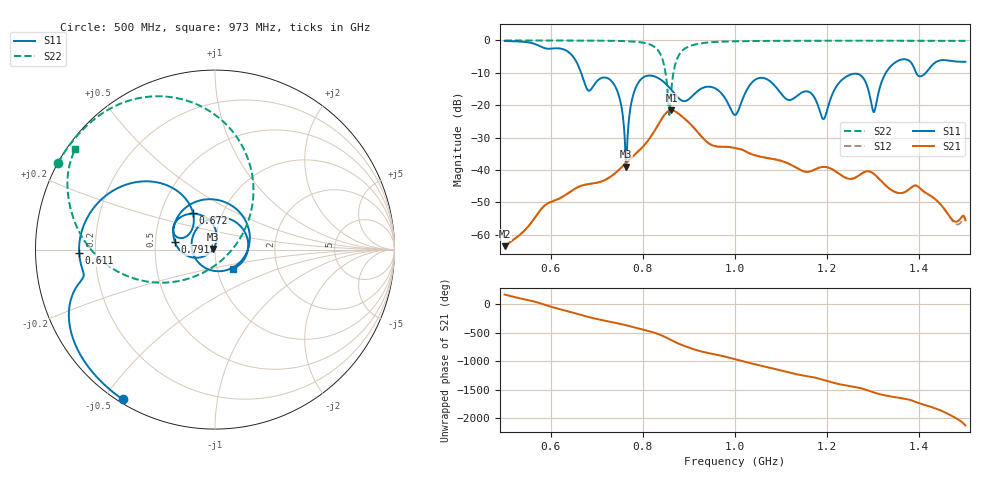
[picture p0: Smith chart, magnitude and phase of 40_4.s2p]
! TOUCHSTONE file generated by CST MICROWAVE STUDIO
! Date and time: Sat Nov 14 20:03:48 2020
! Project name: Scenario_1_Planar_Body_Tissue_Out_of_Line.cst
! Parameters = {dy1=-328.7; L_HA=400; Ltissue=700; MT=2.54; Rad_Dielectric=30; Rad_Lower=7.3; Rad_Upper=30; Wtissue=700; a_HA=580; a_WG=246; b_HA=500; b_WG=121; c_HA=0; c_WG=187; d_feed=85; dx1=693; h_feed=15; h_lower=18; h_upper=40; hfat=3; hgap=25; hmuscle=50; hskin=1.5}
! Header version: 2018
! Port assignment regex: !\s*Touchstone port\s*([0-9]+)\s*=\s*(CST MWS port|CST DS port)\s*([0-9]+|Zmin|Zmax)\s*\(\"(.*)\"\)(\s*mode\s*([0-9]+))?.*
! Touchstone port assignment:
! Touchstone port 1 = CST MWS port 1 ("")
! Touchstone port 2 = CST MWS port 2 ("")
# GHz S DB R 50
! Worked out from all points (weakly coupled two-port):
!   1003 points, 500 MHz to 1.5 GHz, reference 50 ohm
!   highest |S21| = -21.55 dB at 862 MHz (marker M1); lowest = -63.5 dB at 500 MHz (marker M2)
!   lowest |S11| = -39.0 dB at 764 MHz (marker M3), VSWR 1.02, Z = 48.9 + j0.345 ohm
!   |S11| at or under -10 dB: 666 MHz to 1.327 GHz (661.4 MHz wide, 66.4 % of centre); 1.393 GHz to 1.414 GHz (21.02 MHz wide, 1.5 % of centre)
!   |S22| runs from -23.0 to 0.0 dB; largest |S21 - S12| = 0.00044
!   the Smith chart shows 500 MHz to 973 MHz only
!   S11 on the Smith chart (normalised r, x): 500 MHz: 0.01, -0.56; 611 MHz: 0.14, -0.01; 672 MHz: 0.73, +0.31; 791 MHz: 0.63, +0.06; 973 MHz: 1.19, -0.26
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0.5  -0.17 -121.7  -63.53 166.5  -63.53 166.5  -0.01 151.2
0.611  -2.42 -178.6  -49.30 -70.6  -49.30 -70.6  -0.02 143.3
0.667  -10.39 119.5  -44.85 166.7  -44.85 166.7  -0.04 138.4
0.672  -12.51 121.1  -44.64 155.2  -44.64 155.2  -0.05 137.9
0.736  -13.26 115.3  -41.45 38.8  -41.45 38.8  -0.13 129.9
0.764  -39.00 161.7  -37.78 -12.2  -37.78 -12.2  -0.23 124.6
0.791  -12.87 169.3  -34.15 -67.8  -34.15 -67.8  -0.50 116.6
0.834  -11.68 67.5  -25.85 -166.8  -25.85 -166.8  -3.26 83.6
0.862  -15.28 -10.3  -21.55 86.7  -21.55 86.7  -15.01 -125.1
0.886  -18.65 -103.1  -23.59 -0.3  -23.59 -0.3  -3.12 179.3
0.928  -14.79 81.9  -29.80 -112.1  -29.80 -112.1  -0.86 155.1
0.973  -16.75 -47.6  -32.84 170.6  -32.84 170.7  -0.36 144.3
1  -23.02 -169.9  -33.22 114.4  -33.24 114.3  -0.27 140.2
1.052  -11.61 -12.3  -35.79 9.9  -35.79 10.0  -0.16 134.2
1.103  -16.94 -158.2  -37.30 -90.0  -37.30 -90.0  -0.12 129.4
1.167  -16.57 -18.9  -40.25 163.3  -40.25 163.3  -0.10 124.2
1.193  -24.26 -157.9  -39.04 110.1  -39.04 110.1  -0.09 122.2
1.265  -10.31 8.9  -42.04 -17.6  -42.04 -17.6  -0.08 116.7
1.302  -22.05 16.5  -41.29 -109.5  -41.29 -109.5  -0.09 114.0
1.334  -8.63 30.6  -45.63 -172.2  -45.63 -172.2  -0.09 111.5
1.382  -6.82 -32.3  -45.45 116.6  -45.45 116.6  -0.09 107.8
1.5  -6.60 -47.5  -55.56 34.7  -55.56 34.7  -0.13 97.9
